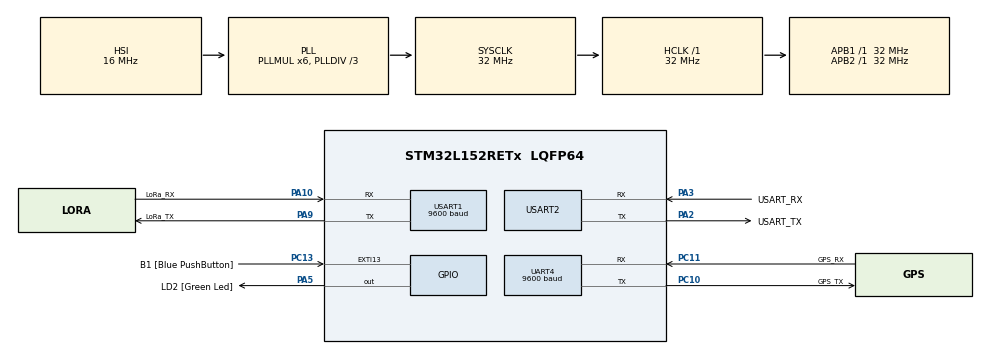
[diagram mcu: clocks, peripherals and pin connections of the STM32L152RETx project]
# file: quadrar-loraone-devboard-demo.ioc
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Mcu.Family=STM32L1
Mcu.Name=STM32L152RETx
Mcu.Package=LQFP64
NVIC.PriorityGroup=NVIC_PRIORITYGROUP_0
NVIC.RTC_WKUP_IRQn=true\:0\:0\:false\:false\:true\:true\:true
NVIC.UART4_IRQn=true\:0\:0\:false\:false\:true\:true\:true
NVIC.USART1_IRQn=true\:0\:0\:false\:false\:true\:true\:true
PA10.GPIO_Label=LoRa_RX
PA10.Mode=Asynchronous
PA10.Signal=USART1_RX
PA13.GPIO_Label=TMS
PA13.Mode=Serial_Wire
PA13.Signal=SYS_JTMS-SWDIO
PA14.GPIO_Label=TCK
PA14.Mode=Serial_Wire
PA14.Signal=SYS_JTCK-SWCLK
PA2.GPIO_Label=USART_TX
PA2.Mode=Asynchronous
PA2.Signal=USART2_TX
PA3.GPIO_Label=USART_RX
PA3.Mode=Asynchronous
PA3.Signal=USART2_RX
PA5.GPIO_Label=LD2 [Green Led]
PA5.Signal=GPIO_Output
PA9.GPIO_Label=LoRa_TX
PA9.Mode=Asynchronous
PA9.Signal=USART1_TX
PB3.GPIO_Label=SWO
PB3.Signal=SYS_JTDO-TRACESWO
PC10.GPIO_Label=GPS_TX
PC10.Mode=Asynchronous
PC10.Signal=UART4_TX
PC11.GPIO_Label=GPS_RX
PC11.Mode=Asynchronous
PC11.Signal=UART4_RX
PC13-WKUP2.GPIO_Label=B1 [Blue PushButton]
PC13-WKUP2.Signal=GPXTI13
PC14-OSC32_IN.Mode=LSE-External-Oscillator
PC14-OSC32_IN.Signal=RCC_OSC32_IN
PC15-OSC32_OUT.Mode=LSE-External-Oscillator
PC15-OSC32_OUT.Signal=RCC_OSC32_OUT
PH0-OSC_IN.Mode=HSE-External-Clock-Source
PH0-OSC_IN.Signal=RCC_OSC_IN
PH1-OSC_OUT.Signal=RCC_OSC_OUT
ProjectManager.HeapSize=0x200
ProjectManager.StackSize=0x400
ProjectManager.TargetToolchain=STM32CubeIDE
RCC.48MHZClocksFreq_Value=48000000
RCC.AHBFreq_Value=32000000
RCC.APB1Freq_Value=32000000
RCC.APB1TimFreq_Value=32000000
RCC.APB2Freq_Value=32000000
RCC.APB2TimFreq_Value=32000000
RCC.HCLKFreq_Value=32000000
RCC.HSE_VALUE=8000000
RCC.HSI_VALUE=16000000
RCC.MSI_VALUE=2097000
RCC.PLLDIV=RCC_PLL_DIV3
RCC.PLLMUL=RCC_PLL_MUL6
RCC.RTCClockSelectionVirtual=RCC_RTCCLKSOURCE_LSE
RCC.SYSCLKFreq_VALUE=32000000
RCC.SYSCLKSource=RCC_SYSCLKSOURCE_PLLCLK
RCC.USBOutput=48000000
RCC.VCOOutputFreq_Value=96000000
RTC.WakeUpClock-WakeUp=RTC_WAKEUPCLOCK_CK_SPRE_17BITS
UART4.BaudRate=9600
UART4.VirtualMode=Asynchronous
USART1.BaudRate=9600
USART1.VirtualMode=VM_ASYNC
USART2.VirtualMode=VM_ASYNC
VP_RTC_VS_RTC_Activate.Mode=RTC_Enabled
VP_RTC_VS_RTC_WakeUp_intern.Mode=WakeUp
board=NUCLEO-L152RE

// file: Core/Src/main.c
/* USER CODE BEGIN Header */
/**
  ******************************************************************************
  * @file           : main.c
  * @brief          : Main program body
  ******************************************************************************
  * @attention
  *
  * <h2><center>&copy; Copyright (c) 2020 STMicroelectronics.
  * All rights reserved.</center></h2>
  *
  * This software component is licensed by ST under BSD 3-Clause license,
  * the "License"; You may not use this file except in compliance with the
  * License. You may obtain a copy of the License at:
  *                        opensource.org/licenses/BSD-3-Clause
  *
  ******************************************************************************
  */
/* USER CODE END Header */
#include "main.h"
#include "rtc.h"
#include "usart.h"
#include "gpio.h"

/* USER CODE BEGIN Includes */
#include "stdio.h"
#include "string.h"
#include "quadrar_gps.h"
#include "quadrar_loraone.h"
#include "dwt_stm32_delay.h"
#include "ds18b20.h"

/* USER CODE END Includes */

void SystemClock_Config(void);

int main(void)
{
  /* USER CODE BEGIN 1 */

	quadrar_gps_data_t GPSData;
	bool retc = 0;
	int32_t res = 0;
	float temp = 0;
	char buf[50];

  /* USER CODE END 1 */

  /* MCU Configuration--------------------------------------------------------*/

  /* Reset of all peripherals, Initializes the Flash interface and the Systick. */
  HAL_Init();

  /* Configure the system clock */
  SystemClock_Config();

  /* Initialize all configured peripherals */
  MX_GPIO_Init();
  MX_USART2_UART_Init();
  MX_RTC_Init();
  MX_UART4_Init();
  MX_USART1_UART_Init();
  /* USER CODE BEGIN 2 */

  quadrar_gps_init();

  DWT_Delay_Init();

  retc = Ds18b20_Init();
  if (!retc) {
	while(1);
  }

  for(;;)
  {
	  res = quadrar_loraone_init();
  if(!res)
	  break;
  }

  /* USER CODE END 2 */

  /* Infinite loop */
  while (1)
  {
	  quadrar_gps_get_data(&GPSData);
	  if(GPSData.fix == 'A')
	  {

		  memset(buf, 0x00, sizeof(buf));
		  sprintf(buf, "0%.6f", GPSData.latitude);
		  quadrar_loraone_send_data(1, buf);
		  HAL_Delay(10000);

		  memset(buf, 0x00, sizeof(buf));
		  sprintf(buf, "1%.6f", GPSData.longitude);
		  quadrar_loraone_send_data(1, buf);
		  HAL_Delay(10000);
	  }

	  Ds18b20_ManualConvert(&temp);
	  memset(buf, 0x00, sizeof(buf));
	  sprintf(buf, "2%.2f", temp);
	  quadrar_loraone_send_data(1, buf);

	  HAL_Delay(10000);
  }
}

void SystemClock_Config(void)
{
  RCC_OscInitTypeDef RCC_OscInitStruct = {0};
  RCC_ClkInitTypeDef RCC_ClkInitStruct = {0};
  RCC_PeriphCLKInitTypeDef PeriphClkInit = {0};

  /** Configure the main internal regulator output voltage
  */
  __HAL_PWR_VOLTAGESCALING_CONFIG(PWR_REGULATOR_VOLTAGE_SCALE1);
  /** Initializes the RCC Oscillators according to the specified parameters
  * in the RCC_OscInitTypeDef structure.
  */
  RCC_OscInitStruct.OscillatorType = RCC_OSCILLATORTYPE_HSI|RCC_OSCILLATORTYPE_LSE;
  RCC_OscInitStruct.LSEState = RCC_LSE_ON;
  RCC_OscInitStruct.HSIState = RCC_HSI_ON;
  RCC_OscInitStruct.HSICalibrationValue = RCC_HSICALIBRATION_DEFAULT;
  RCC_OscInitStruct.PLL.PLLState = RCC_PLL_ON;
  RCC_OscInitStruct.PLL.PLLSource = RCC_PLLSOURCE_HSI;
  RCC_OscInitStruct.PLL.PLLMUL = RCC_PLL_MUL6;
  RCC_OscInitStruct.PLL.PLLDIV = RCC_PLL_DIV3;
  if (HAL_RCC_OscConfig(&RCC_OscInitStruct) != HAL_OK)
  {
    Error_Handler();
  }
  /** Initializes the CPU, AHB and APB buses clocks
  */
  RCC_ClkInitStruct.ClockType = RCC_CLOCKTYPE_HCLK|RCC_CLOCKTYPE_SYSCLK
                              |RCC_CLOCKTYPE_PCLK1|RCC_CLOCKTYPE_PCLK2;
  RCC_ClkInitStruct.SYSCLKSource = RCC_SYSCLKSOURCE_PLLCLK;
  RCC_ClkInitStruct.AHBCLKDivider = RCC_SYSCLK_DIV1;
  RCC_ClkInitStruct.APB1CLKDivider = RCC_HCLK_DIV1;
  RCC_ClkInitStruct.APB2CLKDivider = RCC_HCLK_DIV1;

  if (HAL_RCC_ClockConfig(&RCC_ClkInitStruct, FLASH_LATENCY_1) != HAL_OK)
  {
    Error_Handler();
  }
  PeriphClkInit.PeriphClockSelection = RCC_PERIPHCLK_RTC;
  PeriphClkInit.RTCClockSelection = RCC_RTCCLKSOURCE_LSE;
  if (HAL_RCCEx_PeriphCLKConfig(&PeriphClkInit) != HAL_OK)
  {
    Error_Handler();
  }
}

void Error_Handler(void)
{
}

/************************ (C) COPYRIGHT STMicroelectronics *****END OF FILE****/
